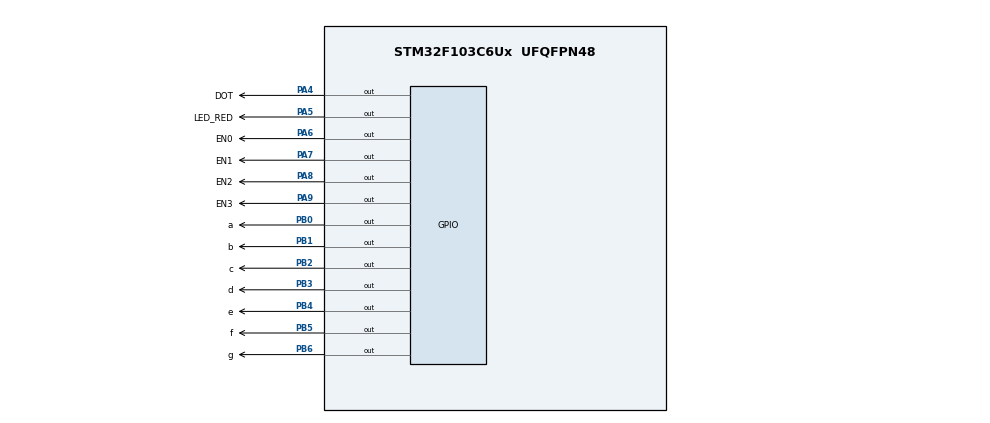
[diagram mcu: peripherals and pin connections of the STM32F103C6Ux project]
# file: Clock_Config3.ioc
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Mcu.Family=STM32F1
Mcu.Name=STM32F103C6Ux
Mcu.Package=UFQFPN48
NVIC.PriorityGroup=NVIC_PRIORITYGROUP_4
NVIC.TIM2_IRQn=true\:0\:0\:false\:false\:true\:true\:true
PA4.GPIO_Label=DOT
PA4.Signal=GPIO_Output
PA5.GPIO_Label=LED_RED
PA5.Signal=GPIO_Output
PA6.GPIO_Label=EN0
PA6.Signal=GPIO_Output
PA7.GPIO_Label=EN1
PA7.Signal=GPIO_Output
PA8.GPIO_Label=EN2
PA8.Signal=GPIO_Output
PA9.GPIO_Label=EN3
PA9.Signal=GPIO_Output
PB0.GPIO_Label=a
PB0.Signal=GPIO_Output
PB1.GPIO_Label=b
PB1.Signal=GPIO_Output
PB2.GPIO_Label=c
PB2.Signal=GPIO_Output
PB3.GPIO_Label=d
PB3.Signal=GPIO_Output
PB4.GPIO_Label=e
PB4.Signal=GPIO_Output
PB5.GPIO_Label=f
PB5.Signal=GPIO_Output
PB6.GPIO_Label=g
PB6.Signal=GPIO_Output
ProjectManager.HeapSize=0x200
ProjectManager.StackSize=0x400
ProjectManager.TargetToolchain=STM32CubeIDE
RCC.APB1Freq_Value=8000000
RCC.APB2Freq_Value=8000000
TIM2.Period=9
TIM2.Prescaler=7999
VP_SYS_VS_ND.Mode=No_Debug
VP_TIM2_VS_ClockSourceINT.Mode=Internal
board=custom

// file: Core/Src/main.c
/* USER CODE BEGIN Header */
/**
  ******************************************************************************
  * @file           : main.c
  * @brief          : Main program body
  ******************************************************************************
  * @attention
  *
  * <h2><center>&copy; Copyright (c) 2025 STMicroelectronics.
  * All rights reserved.</center></h2>
  *
  * This software component is licensed by ST under BSD 3-Clause license,
  * the "License"; You may not use this file except in compliance with the
  * License. You may obtain a copy of the License at:
  *                        opensource.org/licenses/BSD-3-Clause
  *
  ******************************************************************************
  */
/* USER CODE END Header */
#include "main.h"

TIM_HandleTypeDef htim2;

void SystemClock_Config(void);
static void MX_GPIO_Init(void);
static void MX_TIM2_Init(void);

/* USER CODE BEGIN 0 */
uint8_t seg_digits[10][7] = {
	{1, 1, 1, 1, 1, 1, 0}, // 0
	{0, 1, 1, 0, 0, 0, 0}, // 1
	{1, 1, 0, 1, 1, 0, 1}, // 2
	{1, 1, 1, 1, 0, 0, 1}, // 3
	{0, 1, 1, 0, 0, 1, 1}, // 4
	{1, 0, 1, 1, 0, 1, 1}, // 5
	{1, 0, 1, 1, 1, 1, 1}, // 6
	{1, 1, 1, 0, 0, 0, 0}, // 7
	{1, 1, 1, 1, 1, 1, 1}, // 8
	{1, 1, 1, 1, 0, 1, 1}  // 9
};
void display7SEG(uint8_t num) {
    // Directly set/reset the pins for each segment (a-g) of the 7-segment display
    HAL_GPIO_WritePin(GPIOB, GPIO_PIN_0, seg_digits[num][0] ? GPIO_PIN_RESET : GPIO_PIN_SET);  // Segment A
    HAL_GPIO_WritePin(GPIOB, GPIO_PIN_1, seg_digits[num][1] ? GPIO_PIN_RESET : GPIO_PIN_SET);  // Segment B
    HAL_GPIO_WritePin(GPIOB, GPIO_PIN_2, seg_digits[num][2] ? GPIO_PIN_RESET : GPIO_PIN_SET);  // Segment C
    HAL_GPIO_WritePin(GPIOB, GPIO_PIN_3, seg_digits[num][3] ? GPIO_PIN_RESET : GPIO_PIN_SET);  // Segment D
    HAL_GPIO_WritePin(GPIOB, GPIO_PIN_4, seg_digits[num][4] ? GPIO_PIN_RESET : GPIO_PIN_SET);  // Segment E
    HAL_GPIO_WritePin(GPIOB, GPIO_PIN_5, seg_digits[num][5] ? GPIO_PIN_RESET : GPIO_PIN_SET);  // Segment F
    HAL_GPIO_WritePin(GPIOB, GPIO_PIN_6, seg_digits[num][6] ? GPIO_PIN_RESET : GPIO_PIN_SET);  // Segment G
}
const int MAX_LED=4;
int index_led=0;
int led_buffer[4]={9, 8, 7, 3};
void update7SEG(int index){
	if(index>=0&&index<MAX_LED){
		switch (index){
		case 0:
			HAL_GPIO_WritePin(GPIOA, GPIO_PIN_6, GPIO_PIN_RESET);
			display7SEG(led_buffer[0]);
			break;
		case 1:
			HAL_GPIO_WritePin(GPIOA, GPIO_PIN_7, GPIO_PIN_RESET);
			display7SEG(led_buffer[1]);
			break;
		case 2:
			HAL_GPIO_WritePin(GPIOA, GPIO_PIN_8, GPIO_PIN_RESET);
			display7SEG(led_buffer[2]);
			break;
		case 3:
			HAL_GPIO_WritePin(GPIOA, GPIO_PIN_9, GPIO_PIN_RESET);
			display7SEG(led_buffer[3]);
			break;
		default:
			break;
		}
	}
}
/* USER CODE END 0 */

int main(void)
{

  /* MCU Configuration--------------------------------------------------------*/

  /* Reset of all peripherals, Initializes the Flash interface and the Systick. */
  HAL_Init();

  /* Configure the system clock */
  SystemClock_Config();

  /* Initialize all configured peripherals */
  MX_GPIO_Init();
  MX_TIM2_Init();
  /* USER CODE BEGIN 2 */
  HAL_TIM_Base_Start_IT (& htim2 ) ;
  /* USER CODE END 2 */

  /* Infinite loop */
  while (1)
  {

  }
}

void SystemClock_Config(void)
{
  RCC_OscInitTypeDef RCC_OscInitStruct = {0};
  RCC_ClkInitTypeDef RCC_ClkInitStruct = {0};

  /** Initializes the RCC Oscillators according to the specified parameters
  * in the RCC_OscInitTypeDef structure.
  */
  RCC_OscInitStruct.OscillatorType = RCC_OSCILLATORTYPE_HSI;
  RCC_OscInitStruct.HSIState = RCC_HSI_ON;
  RCC_OscInitStruct.HSICalibrationValue = RCC_HSICALIBRATION_DEFAULT;
  RCC_OscInitStruct.PLL.PLLState = RCC_PLL_NONE;
  if (HAL_RCC_OscConfig(&RCC_OscInitStruct) != HAL_OK)
  {
    Error_Handler();
  }
  /** Initializes the CPU, AHB and APB buses clocks
  */
  RCC_ClkInitStruct.ClockType = RCC_CLOCKTYPE_HCLK|RCC_CLOCKTYPE_SYSCLK
                              |RCC_CLOCKTYPE_PCLK1|RCC_CLOCKTYPE_PCLK2;
  RCC_ClkInitStruct.SYSCLKSource = RCC_SYSCLKSOURCE_HSI;
  RCC_ClkInitStruct.AHBCLKDivider = RCC_SYSCLK_DIV1;
  RCC_ClkInitStruct.APB1CLKDivider = RCC_HCLK_DIV1;
  RCC_ClkInitStruct.APB2CLKDivider = RCC_HCLK_DIV1;

  if (HAL_RCC_ClockConfig(&RCC_ClkInitStruct, FLASH_LATENCY_0) != HAL_OK)
  {
    Error_Handler();
  }
}

static void MX_TIM2_Init(void)
{

  TIM_ClockConfigTypeDef sClockSourceConfig = {0};
  TIM_MasterConfigTypeDef sMasterConfig = {0};

  htim2.Instance = TIM2;
  htim2.Init.Prescaler = 7999;
  htim2.Init.CounterMode = TIM_COUNTERMODE_UP;
  htim2.Init.Period = 9;
  htim2.Init.ClockDivision = TIM_CLOCKDIVISION_DIV1;
  htim2.Init.AutoReloadPreload = TIM_AUTORELOAD_PRELOAD_DISABLE;
  if (HAL_TIM_Base_Init(&htim2) != HAL_OK)
  {
    Error_Handler();
  }
  sClockSourceConfig.ClockSource = TIM_CLOCKSOURCE_INTERNAL;
  if (HAL_TIM_ConfigClockSource(&htim2, &sClockSourceConfig) != HAL_OK)
  {
    Error_Handler();
  }
  sMasterConfig.MasterOutputTrigger = TIM_TRGO_RESET;
  sMasterConfig.MasterSlaveMode = TIM_MASTERSLAVEMODE_DISABLE;
  if (HAL_TIMEx_MasterConfigSynchronization(&htim2, &sMasterConfig) != HAL_OK)
  {
    Error_Handler();
  }

}

static void MX_GPIO_Init(void)
{
  GPIO_InitTypeDef GPIO_InitStruct = {0};

  /* GPIO Ports Clock Enable */
  __HAL_RCC_GPIOA_CLK_ENABLE();
  __HAL_RCC_GPIOB_CLK_ENABLE();

  /*Configure GPIO pin Output Level */
  HAL_GPIO_WritePin(GPIOA, DOT_Pin|LED_RED_Pin|EN0_Pin|EN1_Pin
                          |EN2_Pin|EN3_Pin, GPIO_PIN_RESET);

  /*Configure GPIO pin Output Level */
  HAL_GPIO_WritePin(GPIOB, a_Pin|b_Pin|c_Pin|d_Pin
                          |e_Pin|f_Pin|g_Pin, GPIO_PIN_RESET);

  /*Configure GPIO pins : DOT_Pin LED_RED_Pin EN0_Pin EN1_Pin
                           EN2_Pin EN3_Pin */
  GPIO_InitStruct.Pin = DOT_Pin|LED_RED_Pin|EN0_Pin|EN1_Pin
                          |EN2_Pin|EN3_Pin;
  GPIO_InitStruct.Mode = GPIO_MODE_OUTPUT_PP;
  GPIO_InitStruct.Pull = GPIO_NOPULL;
  GPIO_InitStruct.Speed = GPIO_SPEED_FREQ_LOW;
  HAL_GPIO_Init(GPIOA, &GPIO_InitStruct);

  /*Configure GPIO pins : a_Pin b_Pin c_Pin d_Pin
                           e_Pin f_Pin g_Pin */
  GPIO_InitStruct.Pin = a_Pin|b_Pin|c_Pin|d_Pin
                          |e_Pin|f_Pin|g_Pin;
  GPIO_InitStruct.Mode = GPIO_MODE_OUTPUT_PP;
  GPIO_InitStruct.Pull = GPIO_NOPULL;
  GPIO_InitStruct.Speed = GPIO_SPEED_FREQ_LOW;
  HAL_GPIO_Init(GPIOB, &GPIO_InitStruct);

}

/* USER CODE BEGIN 4 */
int counter = 100;
int time=25;
void HAL_TIM_PeriodElapsedCallback ( TIM_HandleTypeDef * htim ){

	if (htim->Instance == TIM2) {   // Ví dụ dùng TIM2
		counter--;
		if( counter <= 0){
			counter = 100;
			HAL_GPIO_TogglePin(LED_RED_GPIO_Port, LED_RED_Pin);
			HAL_GPIO_TogglePin(DOT_GPIO_Port, DOT_Pin);
		}
		time--;
		if(time<=0){
			time=25;
			HAL_GPIO_WritePin(GPIOA, GPIO_PIN_6, GPIO_PIN_SET);
			HAL_GPIO_WritePin(GPIOA, GPIO_PIN_7, GPIO_PIN_SET);
			HAL_GPIO_WritePin(GPIOA, GPIO_PIN_8, GPIO_PIN_SET);
			HAL_GPIO_WritePin(GPIOA, GPIO_PIN_9, GPIO_PIN_SET);
			update7SEG(index_led);
			index_led++;
			if(index_led>=4) index_led=0;
		}
	}
}
/* USER CODE END 4 */

void Error_Handler(void)
{
  __disable_irq();
  while (1)
  {
  }
}

/************************ (C) COPYRIGHT STMicroelectronics *****END OF FILE****/
